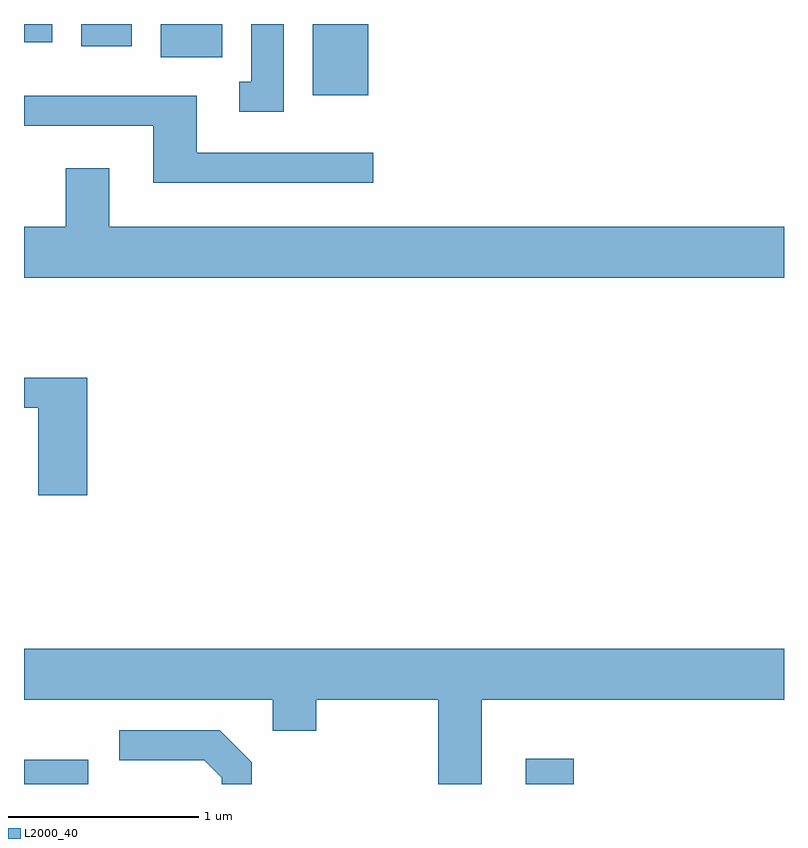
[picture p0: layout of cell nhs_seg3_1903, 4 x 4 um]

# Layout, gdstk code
import gdstk
lib = gdstk.Library(unit=1e-6, precision=1e-09)
def R(c, l, rs):  # rectangles x0, y0, x1, y1
    for r in rs: c.add(gdstk.rectangle(r[:2], r[2:], *l))
def P(c, l, *ps):  # polygons
    for p in ps: c.add(gdstk.Polygon(p, *l))
L2000_40 = (2000, 40)

nhs_seg3_1903 = lib.new_cell('nhs_seg3_1903')
R(nhs_seg3_1903, L2000_40, [(239.611,1249.892,239.949,1250.019), (242.251,1249.892,242.504,1250.024), (241.131,1253.516,241.424,1253.892), (240.331,1253.716,240.654,1253.892), (239.911,1253.776,240.179,1253.892), (239.611,1253.796,239.759,1253.892)])
P(nhs_seg3_1903, L2000_40, [(240.979,1253.892),(240.806,1253.892),(240.806,1253.589),(240.743,1253.589),(240.743,1253.431),(240.979,1253.431)],
  [(241.448,1253.214),(240.519,1253.214),(240.519,1253.514),(239.611,1253.514),(239.611,1253.356),(240.291,1253.356),(240.291,1253.056),(241.448,1253.056)],
  [(243.611,1252.824),(240.059,1252.824),(240.059,1253.134),(239.831,1253.134),(239.831,1252.824),(239.611,1252.824),(239.611,1252.556),(243.611,1252.556)],
  [(239.944,1252.029),(239.611,1252.029),(239.611,1251.871),(239.686,1251.871),(239.686,1251.411),(239.944,1251.411)],
  [(242.019,1250.336),(243.611,1250.336),(243.611,1250.604),(239.611,1250.604),(239.611,1250.336),(240.921,1250.336),(240.921,1250.171),(241.149,1250.171),(241.149,1250.336),(241.791,1250.336),(241.791,1249.892),(242.019,1249.892)],
  [(240.809,1250.007),(240.642,1250.174),(240.113,1250.174),(240.113,1250.016),(240.559,1250.016),(240.651,1249.924),(240.651,1249.892),(240.809,1249.892)])

lib.write_gds('nhs_seg3_1903.gds')
